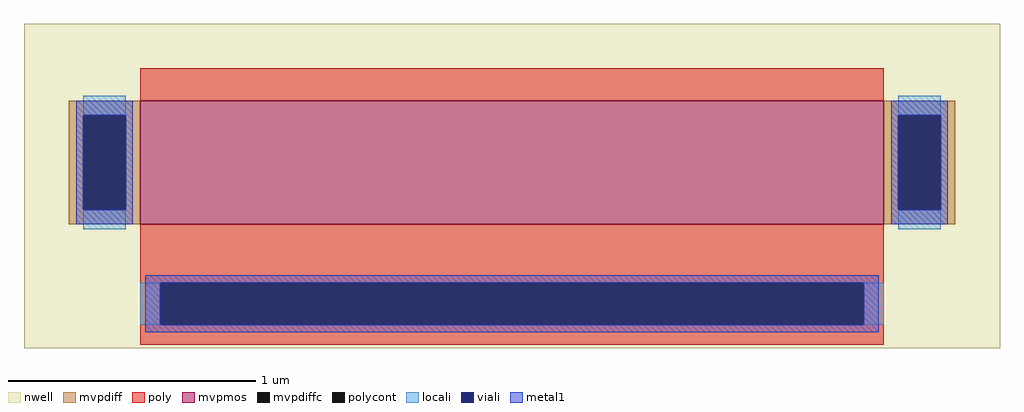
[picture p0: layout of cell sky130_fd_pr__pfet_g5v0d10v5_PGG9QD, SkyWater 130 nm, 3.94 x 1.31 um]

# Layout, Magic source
magic
tech sky130A
magscale 1 2
<< nwell >>
rect -394 -114 394 148
<< mvpmos >>
rect -300 -14 300 86
<< mvpdiff >>
rect -358 74 -300 86
rect -358 -2 -346 74
rect -312 -2 -300 74
rect -358 -14 -300 -2
rect 300 74 358 86
rect 300 -2 312 74
rect 346 -2 358 74
rect 300 -14 358 -2
<< mvpdiffc >>
rect -346 -2 -312 74
rect 312 -2 346 74
<< poly >>
rect -300 86 300 112
rect -300 -61 300 -14
rect -300 -95 -284 -61
rect 284 -95 300 -61
rect -300 -111 300 -95
<< polycont >>
rect -284 -95 284 -61
<< locali >>
rect -346 74 -312 90
rect -346 -18 -312 -2
rect 312 74 346 90
rect 312 -18 346 -2
rect -300 -95 -284 -61
rect 284 -95 300 -61
<< viali >>
rect -346 -2 -312 74
rect 312 -2 346 74
rect -284 -95 284 -61
<< metal1 >>
rect -352 74 -306 86
rect -352 -2 -346 74
rect -312 -2 -306 74
rect -352 -14 -306 -2
rect 306 74 352 86
rect 306 -2 312 74
rect 346 -2 352 74
rect 306 -14 352 -2
rect -296 -61 296 -55
rect -296 -95 -284 -61
rect 284 -95 296 -61
rect -296 -101 296 -95
<< properties >>
string gencell sky130_fd_pr__pfet_g5v0d10v5
string library sky130
string parameters w 0.5 l 3 m 1 nf 1 diffcov 100 polycov 100 guard 0 glc 1 grc 1 gtc 1 gbc 1 tbcov 100 rlcov 100 topc 0 botc 1 poverlap 0 doverlap 1 lmin 0.50 wmin 0.42 compatible {sky130_fd_pr__pfet_01v8  sky130_fd_pr__pfet_01v8_lvt sky130_fd_pr__pfet_01v8_hvt  sky130_fd_pr__pfet_g5v0d10v5} full_metal 1 viasrc 100 viadrn 100 viagate 100 viagb 0 viagr 0 viagl 0 viagt 0
<< end >>
